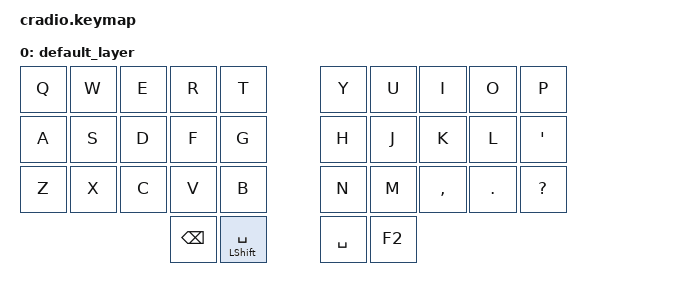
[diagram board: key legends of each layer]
/*
 * Copyright (c) 2020 The ZMK Contributors
 *
 * SPDX-License-Identifier: MIT
 */

#include <behaviors.dtsi>
#include <dt-bindings/zmk/keys.h>

&kscan0 {
    input-gpios
    = <&pro_micro  1   (GPIO_ACTIVE_LOW | GPIO_PULL_UP)>
    , <&pro_micro  2 (GPIO_ACTIVE_LOW | GPIO_PULL_UP)>
    , <&pro_micro  3 (GPIO_ACTIVE_LOW | GPIO_PULL_UP)>
    , <&pro_micro  4 (GPIO_ACTIVE_LOW | GPIO_PULL_UP)>
    , <&pro_micro  5 (GPIO_ACTIVE_LOW | GPIO_PULL_UP)>
    , <&pro_micro  6 (GPIO_ACTIVE_LOW | GPIO_PULL_UP)>
    , <&pro_micro  7 (GPIO_ACTIVE_LOW | GPIO_PULL_UP)>
    , <&pro_micro  8 (GPIO_ACTIVE_LOW | GPIO_PULL_UP)>
    , <&pro_micro  9 (GPIO_ACTIVE_LOW | GPIO_PULL_UP)>
    , <&pro_micro  10 (GPIO_ACTIVE_LOW | GPIO_PULL_UP)>
    , <&pro_micro  14 (GPIO_ACTIVE_LOW | GPIO_PULL_UP)>
    , <&pro_micro  0 (GPIO_ACTIVE_LOW | GPIO_PULL_UP)>
    , <&pro_micro  0 (GPIO_ACTIVE_LOW | GPIO_PULL_UP)>
    , <&pro_micro  18 (GPIO_ACTIVE_LOW | GPIO_PULL_UP)>
    , <&pro_micro  19 (GPIO_ACTIVE_LOW | GPIO_PULL_UP)>
    , <&pro_micro  20 (GPIO_ACTIVE_LOW | GPIO_PULL_UP)>
    , <&pro_micro  21 (GPIO_ACTIVE_LOW | GPIO_PULL_UP)>
    ;
};

&mt {
    //  flavor = "tap-preferred";
    // tapping_term_ms = <200>;
};

&sk {
    ignore-modifiers;
};

/ {
    macros {
        // sometimes my device thinks a modifier is being held down
        // pressing all modifiers fixes it.
    };

    combos {
        compatible = "zmk,combos";

        // both right thumb keys
        // internal-left & external-right thumb keys
        // both left thumb keys
    };

    keymap {
        compatible = "zmk,keymap";

        // Base alpha layer

        default_layer {
            bindings = <
&kp Q  &kp W  &kp E          &kp R             &kp T        &kp Y   &kp U      &kp I    &kp O             &kp P
&kp A  &kp S  &kp D          &kp F             &kp G        &kp H   &kp J      &kp K    &kp L  &kp SINGLE_QUOTE
&kp Z  &kp X  &kp C          &kp V             &kp B        &kp N   &kp M  &kp COMMA  &kp DOT      &kp QUESTION
                     &kp BACKSPACE  &mt LSHIFT SPACE    &kp SPACE  &kp F2
            >;
        };

        // Numbers and high frequency symbols
        // Main modifiers and arrow keys
        // Function keys with modifiers
        // Low frequency symbols.
        // Used to type regional accents.
        // Used to change the keyboard's settings.
    };
};
